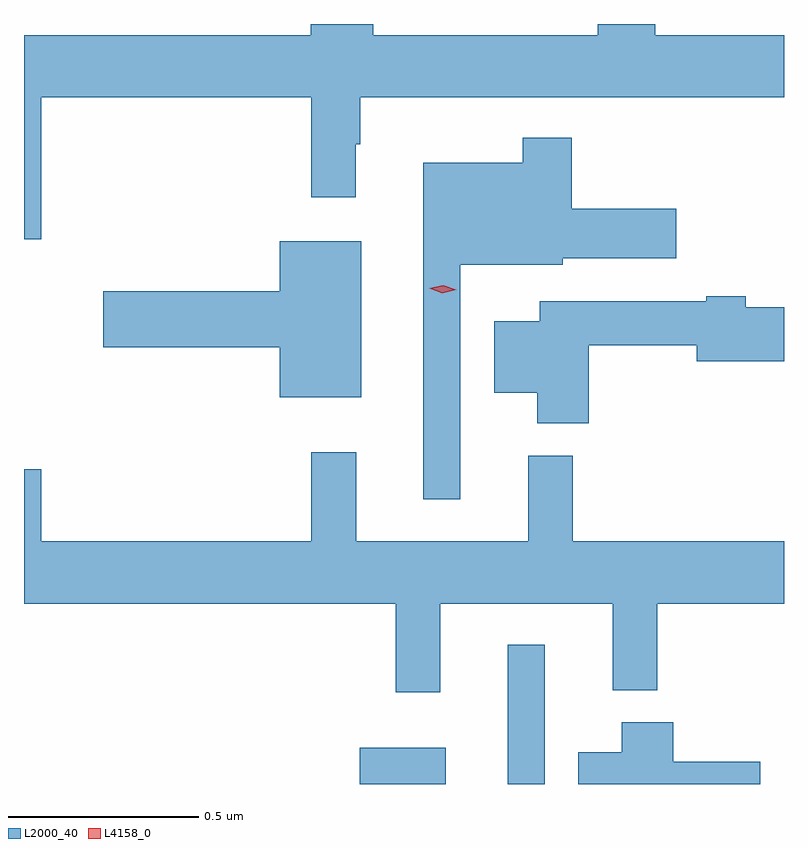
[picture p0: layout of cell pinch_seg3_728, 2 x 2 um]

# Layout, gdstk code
import gdstk
lib = gdstk.Library(unit=1e-6, precision=1e-09)
def R(c, l, rs):  # rectangles x0, y0, x1, y1
    for r in rs: c.add(gdstk.rectangle(r[:2], r[2:], *l))
def P(c, l, *ps):  # polygons
    for p in ps: c.add(gdstk.Polygon(p, *l))
L2000_40 = (2000, 40)
L4158_0 = (4158, 0)

pinch_seg3_728 = lib.new_cell('pinch_seg3_728')
R(pinch_seg3_728, L2000_40, [(1089.086,680.461,1089.313,680.557), (1089.476,680.461,1089.573,680.827)])
P(pinch_seg3_728, L2000_40, [(1088.957,682.432),(1088.203,682.432),(1088.203,681.894),(1088.248,681.894),(1088.248,682.268),(1088.959,682.268),(1088.959,682.005),(1089.076,682.005),(1089.076,682.145),(1089.088,682.145),(1089.088,682.268),(1090.203,682.268),(1090.203,682.432),(1089.864,682.432),(1089.864,682.461),(1089.713,682.461),(1089.713,682.432),(1089.122,682.432),(1089.122,682.461),(1088.957,682.461)],
  [(1089.351,681.827),(1089.621,681.827),(1089.621,681.845),(1089.919,681.845),(1089.919,681.975),(1089.644,681.975),(1089.644,682.162),(1089.516,682.162),(1089.516,682.096),(1089.254,682.096),(1089.254,681.21),(1089.351,681.21)],
  [(1089.091,681.889),(1088.876,681.889),(1088.876,681.758),(1088.412,681.758),(1088.412,681.611),(1088.876,681.611),(1088.876,681.479),(1089.091,681.479)],
  [(1089.689,681.616),(1089.974,681.616),(1089.974,681.574),(1090.203,681.574),(1090.203,681.716),(1090.102,681.716),(1090.102,681.745),(1089.998,681.745),(1089.998,681.732),(1089.56,681.732),(1089.56,681.679),(1089.44,681.679),(1089.44,681.491),(1089.554,681.491),(1089.554,681.41),(1089.689,681.41)],
  [(1089.299,680.936),(1089.752,680.936),(1089.752,680.708),(1089.869,680.708),(1089.869,680.936),(1090.203,680.936),(1090.203,681.1),(1089.647,681.1),(1089.647,681.325),(1089.53,681.325),(1089.53,681.1),(1089.077,681.1),(1089.077,681.334),(1088.959,681.334),(1088.959,681.1),(1088.248,681.1),(1088.248,681.289),(1088.203,681.289),(1088.203,680.936),(1089.181,680.936),(1089.181,680.703),(1089.299,680.703)],
  [(1090.141,680.52),(1089.911,680.52),(1089.911,680.623),(1089.776,680.623),(1089.776,680.545),(1089.662,680.545),(1089.662,680.461),(1090.141,680.461)])
P(pinch_seg3_728, L4158_0, [(1089.304,681.753),(1089.27,681.765),(1089.27,681.765),(1089.27,681.765),(1089.306,681.773),(1089.34,681.762),(1089.34,681.762),(1089.34,681.762)])

lib.write_gds('pinch_seg3_728.gds')
